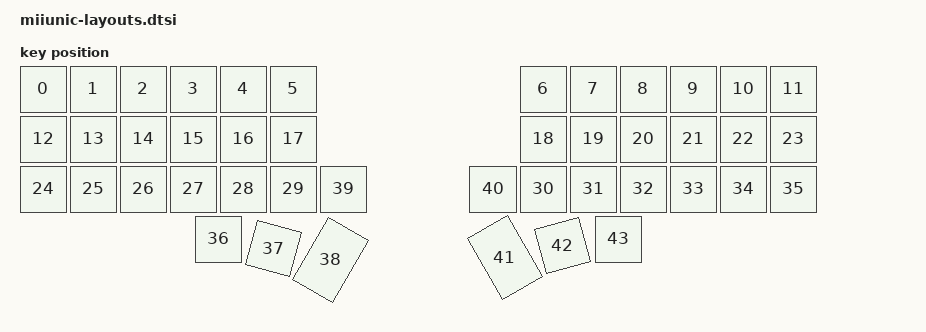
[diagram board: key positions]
#include <physical_layouts.dtsi>

/ {
    physical_layout_miiunic: physical_layout_miiunic {
        compatible = "zmk,physical-layout";
        display-name = "miiUnic";
        keys  //                     w   h    x    y     rot    rx    ry
            = <&key_physical_attrs 100 100    0    0       0     0     0>
            , <&key_physical_attrs 100 100  100    0       0     0     0>
            , <&key_physical_attrs 100 100  200    0       0     0     0>
            , <&key_physical_attrs 100 100  300    0       0     0     0>
            , <&key_physical_attrs 100 100  400    0       0     0     0>
            , <&key_physical_attrs 100 100  500    0       0     0     0>
            , <&key_physical_attrs 100 100 1000    0       0     0     0>
            , <&key_physical_attrs 100 100 1100    0       0     0     0>
            , <&key_physical_attrs 100 100 1200    0       0     0     0>
            , <&key_physical_attrs 100 100 1300    0       0     0     0>
            , <&key_physical_attrs 100 100 1400    0       0     0     0>
            , <&key_physical_attrs 100 100 1500    0       0     0     0>
            , <&key_physical_attrs 100 100    0  100       0     0     0>
            , <&key_physical_attrs 100 100  100  100       0     0     0>
            , <&key_physical_attrs 100 100  200  100       0     0     0>
            , <&key_physical_attrs 100 100  300  100       0     0     0>
            , <&key_physical_attrs 100 100  400  100       0     0     0>
            , <&key_physical_attrs 100 100  500  100       0     0     0>
            , <&key_physical_attrs 100 100 1000  100       0     0     0>
            , <&key_physical_attrs 100 100 1100  100       0     0     0>
            , <&key_physical_attrs 100 100 1200  100       0     0     0>
            , <&key_physical_attrs 100 100 1300  100       0     0     0>
            , <&key_physical_attrs 100 100 1400  100       0     0     0>
            , <&key_physical_attrs 100 100 1500  100       0     0     0>
            , <&key_physical_attrs 100 100    0  200       0     0     0>
            , <&key_physical_attrs 100 100  100  200       0     0     0>
            , <&key_physical_attrs 100 100  200  200       0     0     0>
            , <&key_physical_attrs 100 100  300  200       0     0     0>
            , <&key_physical_attrs 100 100  400  200       0     0     0>
            , <&key_physical_attrs 100 100  500  200       0     0     0>
            , <&key_physical_attrs 100 100 1000  200       0     0     0>
            , <&key_physical_attrs 100 100 1100  200       0     0     0>
            , <&key_physical_attrs 100 100 1200  200       0     0     0>
            , <&key_physical_attrs 100 100 1300  200       0     0     0>
            , <&key_physical_attrs 100 100 1400  200       0     0     0>
            , <&key_physical_attrs 100 100 1500  200       0     0     0>
            , <&key_physical_attrs 100 100  350  300       0   600     0>
            , <&key_physical_attrs 100 100  450  300    1500   435   400>
            , <&key_physical_attrs 100 150  550  300    3000   580   430>
            , <&key_physical_attrs 100 100  600  200       0     0     0>
            , <&key_physical_attrs 100 100  900  200       0     0     0>
            , <&key_physical_attrs 100 150  950  300 (-3000)  1010   430>
            , <&key_physical_attrs 100 100 1050  300 (-1500)  1145   400>
            , <&key_physical_attrs 100 100 1150  300       0   200     0>
            ;
    };
};
